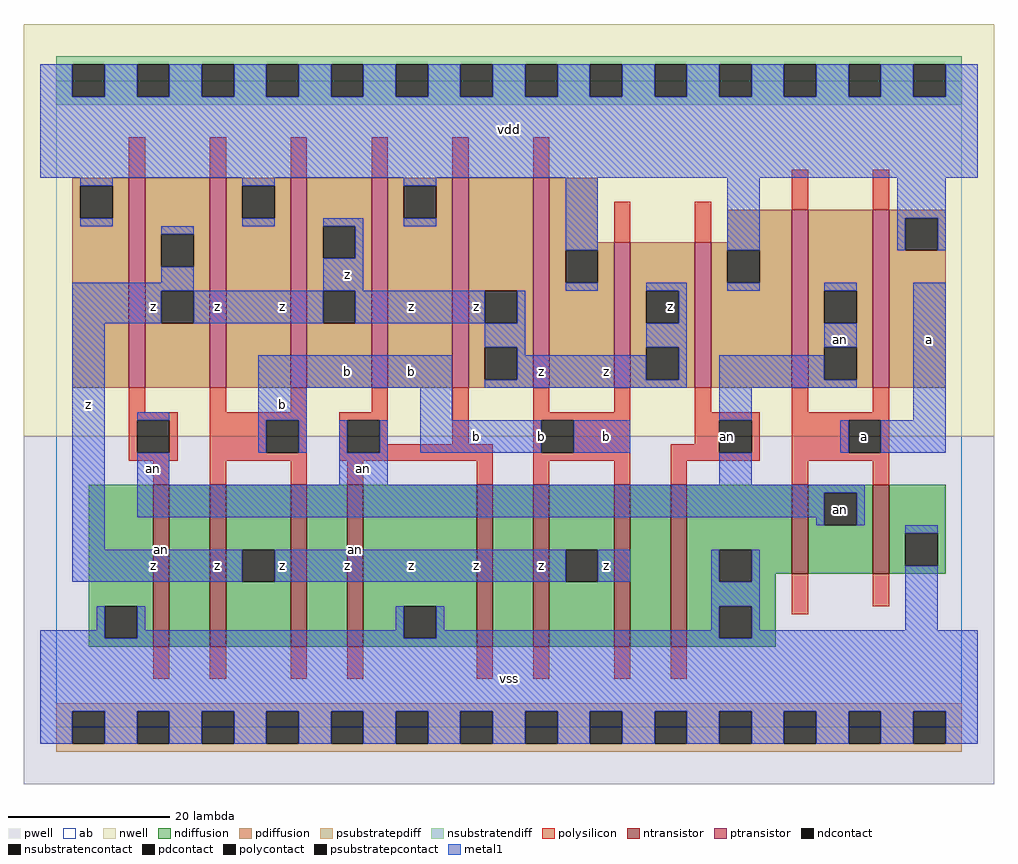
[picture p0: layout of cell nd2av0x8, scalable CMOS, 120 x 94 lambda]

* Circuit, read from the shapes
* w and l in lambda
.subckt nd2av0x8 a an b vdd vss z
M1 n1 an vss vss nfet w=20 l=2
M2 z b n1 vss nfet w=20 l=2
M3 n2 b z vss nfet w=20 l=2
M4 vss an n2 vss nfet w=20 l=2
M5 n3 an vss vss nfet w=20 l=2
M6 z b n3 vss nfet w=20 l=2
M7 n4 b z vss nfet w=20 l=2
M8 vss an n4 vss nfet w=20 l=2
M9 an a vss vss nfet w=11 l=2 m=2
M10 z an vdd vdd pfet w=26 l=2 m=3
M11 vdd b z vdd pfet w=26 l=2 m=3
M12 z b vdd vdd pfet w=18 l=2
M13 vdd an z vdd pfet w=18 l=2
M14 an a vdd vdd pfet w=22 l=2 m=2
.ends

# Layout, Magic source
magic
tech scmos
<< ab >>
rect 0 0 112 80
<< pwell >>
rect -4 -7 116 36
<< nwell >>
rect -4 36 116 87
<< polysilicon >>
rect 9 68 11 73
rect 19 68 21 73
rect 29 68 31 73
rect 39 68 41 73
rect 49 68 51 73
rect 59 68 61 73
rect 69 60 71 65
rect 79 60 81 65
rect 91 64 93 69
rect 101 64 103 69
rect 9 39 11 42
rect 19 39 21 42
rect 29 39 31 42
rect 39 39 41 42
rect 9 38 15 39
rect 9 34 10 38
rect 14 34 15 38
rect 9 33 15 34
rect 19 38 31 39
rect 19 34 26 38
rect 30 34 31 38
rect 19 33 31 34
rect 35 38 41 39
rect 35 34 36 38
rect 40 35 41 38
rect 49 35 51 42
rect 59 39 61 42
rect 69 39 71 42
rect 59 38 71 39
rect 40 34 54 35
rect 35 33 54 34
rect 12 30 14 33
rect 19 30 21 33
rect 29 30 31 33
rect 36 30 38 33
rect 52 30 54 33
rect 59 34 60 38
rect 64 34 71 38
rect 79 39 81 42
rect 91 39 93 42
rect 101 39 103 42
rect 79 38 87 39
rect 79 35 82 38
rect 59 33 71 34
rect 59 30 61 33
rect 69 30 71 33
rect 76 34 82 35
rect 86 34 87 38
rect 76 33 87 34
rect 91 38 103 39
rect 91 34 98 38
rect 102 34 103 38
rect 91 33 103 34
rect 76 30 78 33
rect 91 30 93 33
rect 101 30 103 33
rect 91 14 93 19
rect 101 15 103 19
rect 12 6 14 10
rect 19 6 21 10
rect 29 6 31 10
rect 36 6 38 10
rect 52 6 54 10
rect 59 6 61 10
rect 69 6 71 10
rect 76 6 78 10
<< ndiffusion >>
rect 4 15 12 30
rect 4 11 6 15
rect 10 11 12 15
rect 4 10 12 11
rect 14 10 19 30
rect 21 22 29 30
rect 21 18 23 22
rect 27 18 29 22
rect 21 10 29 18
rect 31 10 36 30
rect 38 15 52 30
rect 38 11 43 15
rect 47 11 52 15
rect 38 10 52 11
rect 54 10 59 30
rect 61 22 69 30
rect 61 18 63 22
rect 67 18 69 22
rect 61 10 69 18
rect 71 10 76 30
rect 78 22 91 30
rect 78 18 82 22
rect 86 19 91 22
rect 93 29 101 30
rect 93 25 95 29
rect 99 25 101 29
rect 93 19 101 25
rect 103 24 110 30
rect 103 20 105 24
rect 109 20 110 24
rect 103 19 110 20
rect 86 18 89 19
rect 78 15 89 18
rect 78 11 82 15
rect 86 11 89 15
rect 78 10 89 11
<< pdiffusion >>
rect 2 67 9 68
rect 2 63 3 67
rect 7 63 9 67
rect 2 42 9 63
rect 11 61 19 68
rect 11 57 13 61
rect 17 57 19 61
rect 11 54 19 57
rect 11 50 13 54
rect 17 50 19 54
rect 11 42 19 50
rect 21 67 29 68
rect 21 63 23 67
rect 27 63 29 67
rect 21 42 29 63
rect 31 62 39 68
rect 31 58 33 62
rect 37 58 39 62
rect 31 54 39 58
rect 31 50 33 54
rect 37 50 39 54
rect 31 42 39 50
rect 41 67 49 68
rect 41 63 43 67
rect 47 63 49 67
rect 41 42 49 63
rect 51 54 59 68
rect 51 50 53 54
rect 57 50 59 54
rect 51 47 59 50
rect 51 43 53 47
rect 57 43 59 47
rect 51 42 59 43
rect 61 60 67 68
rect 83 60 91 64
rect 61 59 69 60
rect 61 55 63 59
rect 67 55 69 59
rect 61 42 69 55
rect 71 54 79 60
rect 71 50 73 54
rect 77 50 79 54
rect 71 47 79 50
rect 71 43 73 47
rect 77 43 79 47
rect 71 42 79 43
rect 81 59 91 60
rect 81 55 83 59
rect 87 55 91 59
rect 81 42 91 55
rect 93 54 101 64
rect 93 50 95 54
rect 99 50 101 54
rect 93 47 101 50
rect 93 43 95 47
rect 99 43 101 47
rect 93 42 101 43
rect 103 63 110 64
rect 103 59 105 63
rect 109 59 110 63
rect 103 42 110 59
<< metal1 >>
rect -2 78 2 82
rect 6 78 10 82
rect 14 78 18 82
rect 22 78 26 82
rect 30 78 34 82
rect 38 78 42 82
rect 46 78 50 82
rect 54 78 58 82
rect 62 78 66 82
rect 70 78 74 82
rect 78 78 82 82
rect 86 78 90 82
rect 94 78 98 82
rect 102 78 106 82
rect 110 78 114 82
rect -2 68 114 78
rect 3 67 7 68
rect 3 62 7 63
rect 23 67 27 68
rect 43 67 47 68
rect 23 62 27 63
rect 33 62 38 63
rect 43 62 47 63
rect 13 61 17 62
rect 13 55 17 57
rect 2 54 17 55
rect 37 58 38 62
rect 33 54 38 58
rect 63 59 67 68
rect 83 59 87 68
rect 104 63 110 68
rect 104 59 105 63
rect 109 59 110 63
rect 63 54 67 55
rect 73 54 78 55
rect 83 54 87 55
rect 95 54 99 55
rect 2 50 13 54
rect 17 50 33 54
rect 37 50 53 54
rect 57 50 58 54
rect 2 22 6 50
rect 53 47 58 50
rect 25 42 49 46
rect 57 46 58 47
rect 77 50 78 54
rect 73 47 78 50
rect 57 43 73 46
rect 77 43 78 47
rect 95 47 99 50
rect 53 42 78 43
rect 82 43 95 46
rect 82 42 99 43
rect 10 38 14 39
rect 25 38 31 42
rect 45 38 49 42
rect 82 38 86 42
rect 106 38 110 55
rect 25 34 26 38
rect 30 34 31 38
rect 35 34 36 38
rect 40 34 41 38
rect 45 34 60 38
rect 64 34 71 38
rect 97 34 98 38
rect 102 34 110 38
rect 10 30 14 34
rect 35 30 41 34
rect 82 30 86 34
rect 10 29 100 30
rect 10 26 95 29
rect 94 25 95 26
rect 99 25 100 29
rect 105 24 109 25
rect 2 18 23 22
rect 27 18 63 22
rect 67 18 71 22
rect 81 18 82 22
rect 86 18 87 22
rect 81 15 87 18
rect 5 12 6 15
rect -2 11 6 12
rect 10 12 11 15
rect 42 12 43 15
rect 10 11 43 12
rect 47 12 48 15
rect 81 12 82 15
rect 47 11 82 12
rect 86 12 87 15
rect 105 12 109 20
rect 86 11 114 12
rect -2 2 114 11
rect -2 -2 2 2
rect 6 -2 10 2
rect 14 -2 18 2
rect 22 -2 26 2
rect 30 -2 34 2
rect 38 -2 42 2
rect 46 -2 50 2
rect 54 -2 58 2
rect 62 -2 66 2
rect 70 -2 74 2
rect 78 -2 82 2
rect 86 -2 90 2
rect 94 -2 98 2
rect 102 -2 106 2
rect 110 -2 114 2
<< ntransistor >>
rect 12 10 14 30
rect 19 10 21 30
rect 29 10 31 30
rect 36 10 38 30
rect 52 10 54 30
rect 59 10 61 30
rect 69 10 71 30
rect 76 10 78 30
rect 91 19 93 30
rect 101 19 103 30
<< ptransistor >>
rect 9 42 11 68
rect 19 42 21 68
rect 29 42 31 68
rect 39 42 41 68
rect 49 42 51 68
rect 59 42 61 68
rect 69 42 71 60
rect 79 42 81 60
rect 91 42 93 64
rect 101 42 103 64
<< polycontact >>
rect 10 34 14 38
rect 26 34 30 38
rect 36 34 40 38
rect 60 34 64 38
rect 82 34 86 38
rect 98 34 102 38
<< ndcontact >>
rect 6 11 10 15
rect 23 18 27 22
rect 43 11 47 15
rect 63 18 67 22
rect 82 18 86 22
rect 95 25 99 29
rect 105 20 109 24
rect 82 11 86 15
<< pdcontact >>
rect 3 63 7 67
rect 13 57 17 61
rect 13 50 17 54
rect 23 63 27 67
rect 33 58 37 62
rect 33 50 37 54
rect 43 63 47 67
rect 53 50 57 54
rect 53 43 57 47
rect 63 55 67 59
rect 73 50 77 54
rect 73 43 77 47
rect 83 55 87 59
rect 95 50 99 54
rect 95 43 99 47
rect 105 59 109 63
<< psubstratepcontact >>
rect 2 -2 6 2
rect 10 -2 14 2
rect 18 -2 22 2
rect 26 -2 30 2
rect 34 -2 38 2
rect 42 -2 46 2
rect 50 -2 54 2
rect 58 -2 62 2
rect 66 -2 70 2
rect 74 -2 78 2
rect 82 -2 86 2
rect 90 -2 94 2
rect 98 -2 102 2
rect 106 -2 110 2
<< nsubstratencontact >>
rect 2 78 6 82
rect 10 78 14 82
rect 18 78 22 82
rect 26 78 30 82
rect 34 78 38 82
rect 42 78 46 82
rect 50 78 54 82
rect 58 78 62 82
rect 66 78 70 82
rect 74 78 78 82
rect 82 78 86 82
rect 90 78 94 82
rect 98 78 102 82
rect 106 78 110 82
<< psubstratepdiff >>
rect 0 2 112 3
rect 0 -2 2 2
rect 6 -2 10 2
rect 14 -2 18 2
rect 22 -2 26 2
rect 30 -2 34 2
rect 38 -2 42 2
rect 46 -2 50 2
rect 54 -2 58 2
rect 62 -2 66 2
rect 70 -2 74 2
rect 78 -2 82 2
rect 86 -2 90 2
rect 94 -2 98 2
rect 102 -2 106 2
rect 110 -2 112 2
rect 0 -3 112 -2
<< nsubstratendiff >>
rect 0 82 112 83
rect 0 78 2 82
rect 6 78 10 82
rect 14 78 18 82
rect 22 78 26 82
rect 30 78 34 82
rect 38 78 42 82
rect 46 78 50 82
rect 54 78 58 82
rect 62 78 66 82
rect 70 78 74 82
rect 78 78 82 82
rect 86 78 90 82
rect 94 78 98 82
rect 102 78 106 82
rect 110 78 112 82
rect 0 77 112 78
<< labels >>
rlabel ntransistor 13 22 13 22 6 an
rlabel ntransistor 37 22 37 22 6 an
rlabel polycontact 83 36 83 36 6 an
rlabel metal1 12 20 12 20 6 z
rlabel metal1 12 32 12 32 6 an
rlabel metal1 4 40 4 40 6 z
rlabel metal1 12 52 12 52 6 z
rlabel metal1 20 20 20 20 6 z
rlabel metal1 28 20 28 20 6 z
rlabel metal1 36 20 36 20 6 z
rlabel metal1 38 32 38 32 6 an
rlabel metal1 28 40 28 40 6 b
rlabel metal1 36 44 36 44 6 b
rlabel metal1 28 52 28 52 6 z
rlabel metal1 20 52 20 52 6 z
rlabel metal1 36 56 36 56 6 z
rlabel metal1 56 6 56 6 6 vss
rlabel metal1 44 20 44 20 6 z
rlabel metal1 52 20 52 20 6 z
rlabel metal1 60 20 60 20 6 z
rlabel metal1 44 44 44 44 6 b
rlabel metal1 52 36 52 36 6 b
rlabel metal1 60 36 60 36 6 b
rlabel metal1 60 44 60 44 6 z
rlabel metal1 52 52 52 52 6 z
rlabel metal1 44 52 44 52 6 z
rlabel metal1 56 74 56 74 6 vdd
rlabel metal1 68 20 68 20 6 z
rlabel polycontact 84 36 84 36 6 an
rlabel metal1 68 36 68 36 6 b
rlabel metal1 68 44 68 44 6 z
rlabel pdcontact 76 52 76 52 6 z
rlabel ndcontact 97 27 97 27 6 an
rlabel polycontact 100 36 100 36 6 a
rlabel metal1 108 48 108 48 6 a
rlabel metal1 97 48 97 48 6 an
<< end >>
